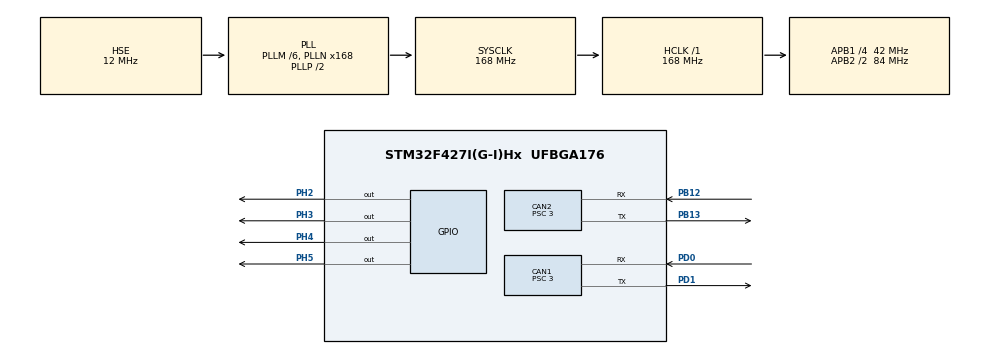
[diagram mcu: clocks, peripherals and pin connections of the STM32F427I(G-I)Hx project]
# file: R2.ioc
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CAN1.BS1=CAN_BS1_10TQ
CAN1.BS2=CAN_BS2_3TQ
CAN1.CalculateBaudRate=1000000
CAN1.CalculateTimeBit=1000
CAN1.CalculateTimeQuantum=71.42857142857143
CAN1.Prescaler=3
CAN2.BS1=CAN_BS1_10TQ
CAN2.BS2=CAN_BS2_3TQ
CAN2.CalculateBaudRate=1000000
CAN2.CalculateTimeBit=1000
CAN2.CalculateTimeQuantum=71.42857142857143
CAN2.Prescaler=3
Mcu.Family=STM32F4
Mcu.Name=STM32F427I(G-I)Hx
Mcu.Package=UFBGA176
NVIC.CAN1_RX0_IRQn=true\:0\:0\:false\:false\:true\:true\:true\:true
NVIC.CAN1_RX1_IRQn=true\:0\:0\:false\:false\:true\:true\:true\:true
NVIC.PriorityGroup=NVIC_PRIORITYGROUP_4
PA13.Mode=Serial_Wire
PA13.Signal=SYS_JTMS-SWDIO
PA14.Mode=Serial_Wire
PA14.Signal=SYS_JTCK-SWCLK
PB12.Mode=CAN_Activate
PB12.Signal=CAN2_RX
PB13.Mode=CAN_Activate
PB13.Signal=CAN2_TX
PD0.Mode=CAN_Activate
PD0.Signal=CAN1_RX
PD1.Mode=CAN_Activate
PD1.Signal=CAN1_TX
PH0/OSC_IN.Mode=HSE-External-Oscillator
PH0/OSC_IN.Signal=RCC_OSC_IN
PH1/OSC_OUT.Mode=HSE-External-Oscillator
PH1/OSC_OUT.Signal=RCC_OSC_OUT
PH2.Signal=GPIO_Output
PH3.Signal=GPIO_Output
PH4.Signal=GPIO_Output
PH5.Signal=GPIO_Output
ProjectManager.HeapSize=0x200
ProjectManager.StackSize=0x400
ProjectManager.TargetToolchain=MDK-ARM V5.32
RCC.48MHZClocksFreq_Value=84000000
RCC.AHBFreq_Value=168000000
RCC.APB1CLKDivider=RCC_HCLK_DIV4
RCC.APB1Freq_Value=42000000
RCC.APB1TimFreq_Value=84000000
RCC.APB2CLKDivider=RCC_HCLK_DIV2
RCC.APB2Freq_Value=84000000
RCC.APB2TimFreq_Value=168000000
RCC.CortexFreq_Value=168000000
RCC.HCLKFreq_Value=168000000
RCC.HSE_VALUE=12000000
RCC.HSI_VALUE=16000000
RCC.LSE_VALUE=32768
RCC.PLLM=6
RCC.PLLN=168
RCC.PLLSourceVirtual=RCC_PLLSOURCE_HSE
RCC.SYSCLKFreq_VALUE=168000000
RCC.SYSCLKSource=RCC_SYSCLKSOURCE_PLLCLK
RCC.VCOOutputFreq_Value=336000000
board=custom

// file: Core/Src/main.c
/* USER CODE BEGIN Header */
/**
  ******************************************************************************
  * @file           : main.c
  * @brief          : Main program body
  ******************************************************************************
  * @attention
  *
  * Copyright (c) 2024 STMicroelectronics.
  * All rights reserved.
  *
  * This software is licensed under terms that can be found in the LICENSE file
  * in the root directory of this software component.
  * If no LICENSE file comes with this software, it is provided AS-IS.
  *
  ******************************************************************************
  */
/* USER CODE END Header */
#include "main.h"
#include "can.h"
#include "gpio.h"

/* USER CODE BEGIN Includes */
#include "bsp_can.h"
#include "Can_receive.h"
#include "pid.h"

/* USER CODE END Includes */

/* USER CODE BEGIN PD */
	PID_TypeDef rm3508_speed_pid[4];
	PID_TypeDef rm3508_position_pid[4];

typedef struct _reseive_TypeDef
{
float V_x;
float V_y;
float W;

}_reseive_TypeDef;

_reseive_TypeDef rx_motor;

//PID_TypeDef rm3508_speed_pid[4] =
//{
//	.iterm_cofeA   = 1000,
//  .iterm_cofeB   = 400,
//	.output_lpf_rc = 0.1,
//};
//PID_TypeDef rm3508_position_pid =
//{
//	.iterm_cofeA   = 400,
//  .iterm_cofeB   = 100,
//	.output_lpf_rc = 0.1,
//};

/* USER CODE END PD */

/* USER CODE BEGIN PV */
extern motor_measure_t motor_chassis[7];

float a=1.4142135;
float b=1.4142135;
float l=400;
float cal_target[4];
/* USER CODE END PV */

void SystemClock_Config(void);

/* USER CODE BEGIN 0 */
void rx_motor_init()
{
		rx_motor.V_x=100;
		rx_motor.V_y=-100;
		rx_motor.W=0;

}

float V_calculate (i)
{
	float V;

	if(i == 0)
	{
		V=-rx_motor.V_x*a+rx_motor.V_y*b+l*rx_motor.W;
	}
	else if(i == 1)
	{
		V=-rx_motor.V_x*a-rx_motor.V_y*b+l*rx_motor.W;
	}
	else if(i == 2)
	{
		V=rx_motor.V_x*a-rx_motor.V_y*b+l*rx_motor.W;
	}
	else if(i ==3)
	{
		 V=rx_motor.V_x*a+rx_motor.V_y*b+l*rx_motor.W;
	}

		return V;
}

/* USER CODE END 0 */

int main(void)
{

  /* MCU Configuration--------------------------------------------------------*/

  /* Reset of all peripherals, Initializes the Flash interface and the Systick. */
  HAL_Init();

  /* Configure the system clock */
  SystemClock_Config();

  /* Initialize all configured peripherals */
  MX_GPIO_Init();
  MX_CAN1_Init();
  MX_CAN2_Init();
  /* USER CODE BEGIN 2 */
  can_filter_init();

  HAL_GPIO_WritePin(GPIOH , GPIO_PIN_2 , GPIO_PIN_SET);
  HAL_GPIO_WritePin(GPIOH , GPIO_PIN_3 , GPIO_PIN_SET);
  HAL_GPIO_WritePin(GPIOH , GPIO_PIN_4 , GPIO_PIN_SET);
  HAL_GPIO_WritePin(GPIOH , GPIO_PIN_5 , GPIO_PIN_SET);

  for(int i = 0 ;i<4;i++ )
  	{
		rx_motor_init();
		pid_init(&rm3508_speed_pid[i]);
	rm3508_speed_pid[i].f_param_init(&rm3508_speed_pid[i], PID_Speed,
								  16000,5000,0,0,800,V_calculate(i),1.48,0.039,0.1,PID_Integral_Limit  | PID_OutputFilter | PID_Derivative_On_Measurement | PID_DerivativeFilter);

		//	pid_init(&rm3508_position_pid[i]);
//	rm3508_position_pid[i].f_param_init(&rm3508_position_pid[i], PID_Position,
//								  16000,5000,0,0,800,0,0.056,0,0,PID_Integral_Limit);
	}

  HAL_Delay(10);
  /* USER CODE END 2 */

  /* Infinite loop */
  while (1)
  {
//		rm3508_position_pid.f_cal_pid(&rm3508_position_pid, motor_chassis[0].total_angle);
//		rm3508_speed_pid.target = rm3508_position_pid.output;

	  for(int i = 0; i<4 ; i ++)
	  {
		  rx_motor_init();
		  rm3508_speed_pid[i].f_cal_pid(&rm3508_speed_pid[i], motor_chassis[i].speed_rpm);

	  }

		CAN_cmd_chassis(rm3508_speed_pid[0].output,rm3508_speed_pid[1].output,rm3508_speed_pid[2].output,rm3508_speed_pid[3].output);

	    HAL_Delay(5);
  }
}

void SystemClock_Config(void)
{
  RCC_OscInitTypeDef RCC_OscInitStruct = {0};
  RCC_ClkInitTypeDef RCC_ClkInitStruct = {0};

  /** Configure the main internal regulator output voltage
  */
  __HAL_RCC_PWR_CLK_ENABLE();
  __HAL_PWR_VOLTAGESCALING_CONFIG(PWR_REGULATOR_VOLTAGE_SCALE1);

  /** Initializes the RCC Oscillators according to the specified parameters
  * in the RCC_OscInitTypeDef structure.
  */
  RCC_OscInitStruct.OscillatorType = RCC_OSCILLATORTYPE_HSE;
  RCC_OscInitStruct.HSEState = RCC_HSE_ON;
  RCC_OscInitStruct.PLL.PLLState = RCC_PLL_ON;
  RCC_OscInitStruct.PLL.PLLSource = RCC_PLLSOURCE_HSE;
  RCC_OscInitStruct.PLL.PLLM = 6;
  RCC_OscInitStruct.PLL.PLLN = 168;
  RCC_OscInitStruct.PLL.PLLP = RCC_PLLP_DIV2;
  RCC_OscInitStruct.PLL.PLLQ = 4;
  if (HAL_RCC_OscConfig(&RCC_OscInitStruct) != HAL_OK)
  {
    Error_Handler();
  }

  /** Initializes the CPU, AHB and APB buses clocks
  */
  RCC_ClkInitStruct.ClockType = RCC_CLOCKTYPE_HCLK|RCC_CLOCKTYPE_SYSCLK
                              |RCC_CLOCKTYPE_PCLK1|RCC_CLOCKTYPE_PCLK2;
  RCC_ClkInitStruct.SYSCLKSource = RCC_SYSCLKSOURCE_PLLCLK;
  RCC_ClkInitStruct.AHBCLKDivider = RCC_SYSCLK_DIV1;
  RCC_ClkInitStruct.APB1CLKDivider = RCC_HCLK_DIV4;
  RCC_ClkInitStruct.APB2CLKDivider = RCC_HCLK_DIV2;

  if (HAL_RCC_ClockConfig(&RCC_ClkInitStruct, FLASH_LATENCY_5) != HAL_OK)
  {
    Error_Handler();
  }
}

void Error_Handler(void)
{
  __disable_irq();
  while (1)
  {
  }
}
